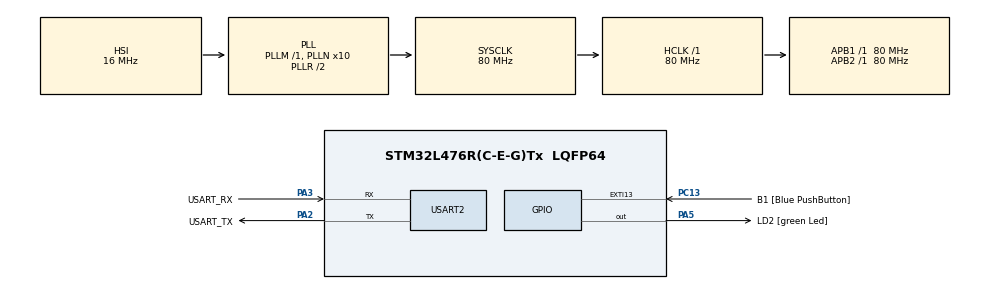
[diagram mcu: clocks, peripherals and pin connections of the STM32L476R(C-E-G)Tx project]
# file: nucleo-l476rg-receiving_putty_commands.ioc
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Mcu.Family=STM32L4
Mcu.Name=STM32L476R(C-E-G)Tx
Mcu.Package=LQFP64
NVIC.PriorityGroup=NVIC_PRIORITYGROUP_4
NVIC.USART2_IRQn=true\:0\:0\:false\:false\:true\:true\:true
PA13\ (JTMS-SWDIO).GPIO_Label=TMS
PA13\ (JTMS-SWDIO).Mode=Serial_Wire
PA13\ (JTMS-SWDIO).Signal=SYS_JTMS-SWDIO
PA14\ (JTCK-SWCLK).GPIO_Label=TCK
PA14\ (JTCK-SWCLK).Mode=Serial_Wire
PA14\ (JTCK-SWCLK).Signal=SYS_JTCK-SWCLK
PA2.GPIO_Label=USART_TX
PA2.GPIO_Mode=GPIO_MODE_AF_PP
PA2.GPIO_PuPd=GPIO_NOPULL
PA2.GPIO_Speed=GPIO_SPEED_FREQ_VERY_HIGH
PA2.Mode=Asynchronous
PA2.Signal=USART2_TX
PA3.GPIO_Label=USART_RX
PA3.GPIO_Mode=GPIO_MODE_AF_PP
PA3.GPIO_PuPd=GPIO_NOPULL
PA3.GPIO_Speed=GPIO_SPEED_FREQ_VERY_HIGH
PA3.Mode=Asynchronous
PA3.Signal=USART2_RX
PA5.GPIO_Label=LD2 [green Led]
PA5.GPIO_ModeDefaultOutputPP=GPIO_MODE_OUTPUT_PP
PA5.GPIO_PuPd=GPIO_NOPULL
PA5.GPIO_Speed=GPIO_SPEED_FREQ_LOW
PA5.Signal=GPIO_Output
PB3\ (JTDO-TRACESWO).GPIO_Label=SWO
PB3\ (JTDO-TRACESWO).Signal=SYS_JTDO-SWO
PC13.GPIO_Label=B1 [Blue PushButton]
PC13.GPIO_ModeDefaultEXTI=GPIO_MODE_IT_FALLING
PC13.GPIO_PuPd=GPIO_NOPULL
PC13.Signal=GPXTI13
PC14-OSC32_IN\ (PC14).Mode=LSE-External-Oscillator
PC14-OSC32_IN\ (PC14).Signal=RCC_OSC32_IN
PC15-OSC32_OUT\ (PC15).Mode=LSE-External-Oscillator
PC15-OSC32_OUT\ (PC15).Signal=RCC_OSC32_OUT
PH0-OSC_IN\ (PH0).Signal=RCC_OSC_IN
PH1-OSC_OUT\ (PH1).Signal=RCC_OSC_OUT
ProjectManager.HeapSize=0x200
ProjectManager.StackSize=0x400
ProjectManager.TargetToolchain=STM32CubeIDE
RCC.ADCFreq_Value=64000000
RCC.AHBFreq_Value=80000000
RCC.APB1Freq_Value=80000000
RCC.APB1TimFreq_Value=80000000
RCC.APB2Freq_Value=80000000
RCC.APB2TimFreq_Value=80000000
RCC.CortexFreq_Value=80000000
RCC.HCLKFreq_Value=80000000
RCC.HSE_VALUE=8000000
RCC.HSI_VALUE=16000000
RCC.MSI_VALUE=4000000
RCC.PLLN=10
RCC.PLLSourceVirtual=RCC_PLLSOURCE_HSI
RCC.PREFETCH_ENABLE=1
RCC.SYSCLKFreq_VALUE=80000000
RCC.SYSCLKSource=RCC_SYSCLKSOURCE_PLLCLK
RCC.USBFreq_Value=64000000
RCC.VCOOutputFreq_Value=160000000
USART2.VirtualMode-Asynchronous=VM_ASYNC
board=NUCLEO-L476RG

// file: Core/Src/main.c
/* USER CODE BEGIN Header */
/**
  ******************************************************************************
  * @file           : main.c
  * @brief          : Main program body
  ******************************************************************************
  * @attention
  *
  * <h2><center>&copy; Copyright (c) 2021 STMicroelectronics.
  * All rights reserved.</center></h2>
  *
  * This software component is licensed by ST under BSD 3-Clause license,
  * the "License"; You may not use this file except in compliance with the
  * License. You may obtain a copy of the License at:
  *                        opensource.org/licenses/BSD-3-Clause
  *
  ******************************************************************************
  */
/* USER CODE END Header */
#include "main.h"
#include <string.h>
#include <stdio.h>
#include <stdbool.h>

UART_HandleTypeDef huart2;

void SystemClock_Config(void);
static void MX_GPIO_Init(void);
static void MX_USART2_UART_Init(void);

/* USER CODE BEGIN 0 */

uint8_t safe_buff[100]; //Global variable that holds the completed command.
uint8_t rx_buff[100]= {0}; //Global variable that holds the command as it's being entered.
uint8_t rx_char[1] = {0}; //Global variable. Passed in the calling of the hal-uart-interrupt-function.
bool rx_complete = false; //Global variable that represents whether the command has been completed or not.
int last_command_count; // Integer variable only used in the hal-uart-interrupt function for internal logic. Should be a local variable since only using in one function.
int rx_count; //Integer variable. Only used in Nolan's function, so should be local?

/*
 * --//PROJECT DESCRIPTION\\--
 * This program lets you type a command into putty, press enter, then putty displays the command back to you.
 *
 * --//PROJECT STATUS\\--
 * COMPLETE.
 *
 * --//TASKS AT HAND\\--
 * NONE
 *
 * --//FUTURE TASKS. NOT THAT IMPORTANT\\--
 * NONE
 *
 *
 */

/* USER CODE END 0 */

int main(void)
{

  /* MCU Configuration--------------------------------------------------------*/

  /* Reset of all peripherals, Initializes the Flash interface and the Systick. */
  HAL_Init();

  /* Configure the system clock */
  SystemClock_Config();

  /* Initialize all configured peripherals */
  MX_GPIO_Init();
  MX_USART2_UART_Init();
  /* USER CODE BEGIN 2 */

  /*
   * The next buffers are used for transmitting to PuTTy if I've received a command.
   * To understand what they do, go to the section of the code where they're used.
   */
  uint8_t tx_buff[500];
  uint8_t message[100];

  /*
   * The next lines of code are used for an initial transmitting to PuTTy that the program has been run...
   * and I can start typing into the terminal.
   */
  strcpy( (char*)tx_buff, "\r\nSetup complete. You may begin typing commands.\r\n\r\n"); //
  HAL_UART_Transmit(&huart2, tx_buff, strlen((char*)tx_buff), 500); //TWO

  /*
   * This is the initialization of PuTTy receiving a character. It tells PuTTy, "hey,..
   * receive the next character I'm about to type."
   */
  HAL_UART_Receive_IT(&huart2, rx_char, 1); //Start listening for interrupts.

  /* USER CODE END 2 */

  /* Infinite loop */
  /* USER CODE BEGIN WHILE */
  while (1)
  {
	  /*
	   * The following lines of commented code are just for reference. How to use snprintf and strcpy.
	   * Btw, sprintf is just strcpy but with formatting like %d and %s and %c and shit like that.
	   */
	  //snprintf((char*)tx_buff, sizeof(tx_buff), "Test print.\r\n");//Copies a value to the buffer. String casted integer.
	  //strcpy( (char*)tx_buff, "HI!\r\n");
	  //HAL_UART_Transmit(&huart2, tx_buff, strlen((char*)tx_buff), 500);

	  /*
	   * If I get a enter key, rx_complete is true
	   * Move the cursor down, aka transmit \r\n; print the contents of safe_buff. This is my command.
	   * ;move the cursor to the next spot.
	   * Set rx_complete to false to reset the debounce.
	   */
	  if (rx_complete)
	  {
		  strcpy( (char*)message, "\r\n");
		  snprintf(
				  (char*)tx_buff,
				  sizeof(tx_buff),
				  "%sThe command is was: %s%s%s",
				  message, safe_buff, message, message
				  );
		  HAL_UART_Transmit(&huart2, tx_buff, strlen((char*)tx_buff), 500);
		  rx_complete = false;
	  }
    /* USER CODE END WHILE */

  }
}

void SystemClock_Config(void)
{
  RCC_OscInitTypeDef RCC_OscInitStruct = {0};
  RCC_ClkInitTypeDef RCC_ClkInitStruct = {0};

  /** Configure the main internal regulator output voltage
  */
  if (HAL_PWREx_ControlVoltageScaling(PWR_REGULATOR_VOLTAGE_SCALE1) != HAL_OK)
  {
    Error_Handler();
  }
  /** Initializes the RCC Oscillators according to the specified parameters
  * in the RCC_OscInitTypeDef structure.
  */
  RCC_OscInitStruct.OscillatorType = RCC_OSCILLATORTYPE_HSI;
  RCC_OscInitStruct.HSIState = RCC_HSI_ON;
  RCC_OscInitStruct.HSICalibrationValue = RCC_HSICALIBRATION_DEFAULT;
  RCC_OscInitStruct.PLL.PLLState = RCC_PLL_ON;
  RCC_OscInitStruct.PLL.PLLSource = RCC_PLLSOURCE_HSI;
  RCC_OscInitStruct.PLL.PLLM = 1;
  RCC_OscInitStruct.PLL.PLLN = 10;
  RCC_OscInitStruct.PLL.PLLP = RCC_PLLP_DIV7;
  RCC_OscInitStruct.PLL.PLLQ = RCC_PLLQ_DIV2;
  RCC_OscInitStruct.PLL.PLLR = RCC_PLLR_DIV2;
  if (HAL_RCC_OscConfig(&RCC_OscInitStruct) != HAL_OK)
  {
    Error_Handler();
  }
  /** Initializes the CPU, AHB and APB buses clocks
  */
  RCC_ClkInitStruct.ClockType = RCC_CLOCKTYPE_HCLK|RCC_CLOCKTYPE_SYSCLK
                              |RCC_CLOCKTYPE_PCLK1|RCC_CLOCKTYPE_PCLK2;
  RCC_ClkInitStruct.SYSCLKSource = RCC_SYSCLKSOURCE_PLLCLK;
  RCC_ClkInitStruct.AHBCLKDivider = RCC_SYSCLK_DIV1;
  RCC_ClkInitStruct.APB1CLKDivider = RCC_HCLK_DIV1;
  RCC_ClkInitStruct.APB2CLKDivider = RCC_HCLK_DIV1;

  if (HAL_RCC_ClockConfig(&RCC_ClkInitStruct, FLASH_LATENCY_4) != HAL_OK)
  {
    Error_Handler();
  }
}

static void MX_USART2_UART_Init(void)
{

  huart2.Instance = USART2;
  huart2.Init.BaudRate = 115200;
  huart2.Init.WordLength = UART_WORDLENGTH_8B;
  huart2.Init.StopBits = UART_STOPBITS_1;
  huart2.Init.Parity = UART_PARITY_NONE;
  huart2.Init.Mode = UART_MODE_TX_RX;
  huart2.Init.HwFlowCtl = UART_HWCONTROL_NONE;
  huart2.Init.OverSampling = UART_OVERSAMPLING_16;
  huart2.Init.OneBitSampling = UART_ONE_BIT_SAMPLE_DISABLE;
  huart2.AdvancedInit.AdvFeatureInit = UART_ADVFEATURE_NO_INIT;
  if (HAL_UART_Init(&huart2) != HAL_OK)
  {
    Error_Handler();
  }

}

static void MX_GPIO_Init(void)
{
  GPIO_InitTypeDef GPIO_InitStruct = {0};

  /* GPIO Ports Clock Enable */
  __HAL_RCC_GPIOC_CLK_ENABLE();
  __HAL_RCC_GPIOH_CLK_ENABLE();
  __HAL_RCC_GPIOA_CLK_ENABLE();
  __HAL_RCC_GPIOB_CLK_ENABLE();

  /*Configure GPIO pin Output Level */
  HAL_GPIO_WritePin(LD2_GPIO_Port, LD2_Pin, GPIO_PIN_RESET);

  /*Configure GPIO pin : B1_Pin */
  GPIO_InitStruct.Pin = B1_Pin;
  GPIO_InitStruct.Mode = GPIO_MODE_IT_FALLING;
  GPIO_InitStruct.Pull = GPIO_NOPULL;
  HAL_GPIO_Init(B1_GPIO_Port, &GPIO_InitStruct);

  /*Configure GPIO pin : LD2_Pin */
  GPIO_InitStruct.Pin = LD2_Pin;
  GPIO_InitStruct.Mode = GPIO_MODE_OUTPUT_PP;
  GPIO_InitStruct.Pull = GPIO_NOPULL;
  GPIO_InitStruct.Speed = GPIO_SPEED_FREQ_LOW;
  HAL_GPIO_Init(LD2_GPIO_Port, &GPIO_InitStruct);

}

/* USER CODE BEGIN 4 */
void HAL_UART_RxCpltCallback(UART_HandleTypeDef *huart)
{
    if (huart->Instance == huart2.Instance)
        {
            switch (*rx_char)
            {
                // if we receive a carriage return, newline, or null terminator, then we have received a complete command
                case '\r':
                case '\n':
                case '\0':
                {
                    //The C library function void *memcpy(void *dest, const void *src, size_t n) copies n characters from memory area src to memory area dest.
                    memcpy(safe_buff, rx_buff, rx_count + 1);
                    last_command_count = rx_count;

                    memset(rx_buff, 0, sizeof(rx_buff));
                    rx_count = 0;

    #ifdef ECHO_RECEIVED_CHARACTERS
                    uint8_t new_line[2] = {'\r', '\n'};
                    HAL_UART_Transmit(&huart2, new_line, 2, 100);        // transmit CRLF
    #endif

                    rx_complete = true;
                    break;
                }
                /*
                 * FIXME: When user back spaces, the data may reflect that the user backspaced, but when the user sends the command,
                 * the command comes back as unrecognized. Probably because there is some interfering data being left into the incoming_command buffer.
                 *
                 * To replicate error: type in a command, hit back space, then fill out the rest of the command, then hit enter. You will get an unrecognized command error
                 * even though you typed it in correctly.
                 */
                // if we have received a backspace character, then delete the last received character
                case '\b':
                {
                    // set current buffer position to 0; if we are not already at index 0 then move back one index and set that value to 0 as well
                    if (rx_count)
                    {
                        rx_buff[rx_count] = 0;
                        rx_count --;
    #ifdef ECHO_RECEIVED_CHARACTERS
                    uint8_t tx_char = ' ';
                    HAL_UART_Transmit(&huart2, &rx_char, 1, 100);        // transmit backspace character to move our cursor back once on the terminal
                    HAL_UART_Transmit(&huart2, &tx_char, 1, 100);        // transmit space character to clear the character that was there
                    HAL_UART_Transmit(&huart2, &rx_char, 1, 100);        // transmit backspace character to once again move back a space
    #endif
                    }
                    rx_buff[rx_count] = 0;

                    break;
                }

                // we have received some other character, store it to the array
                default:
                {
                    rx_buff[rx_count] = *rx_char;
                    rx_count ++;

    #ifdef ECHO_RECEIVED_CHARACTERS
                    HAL_UART_Transmit(&huart2, &rx_char, 1, 100);        // echo the received character to the terminal
    #endif
                    //Show the input being entered by user on the terminal
                    uint8_t show_input[50];
                    //sprintf(show_input, "%c", *rx_char);
                    //sprintf(show_input, *rx_char);
                    strcpy ( (char*)show_input, (char*)rx_char);
                    HAL_UART_Transmit(&huart2, show_input, strlen((char*)show_input),1000);
                    break;
                }
            }

            *rx_char = 0; //In the switch statement, one of the cases is a 0, so I assume this is necessary.
            HAL_UART_Receive_IT(&huart2, rx_char, 1);

        }
}
/* USER CODE END 4 */

void Error_Handler(void)
{
  __disable_irq();
  while (1)
  {
  }
}

/************************ (C) COPYRIGHT STMicroelectronics *****END OF FILE****/
